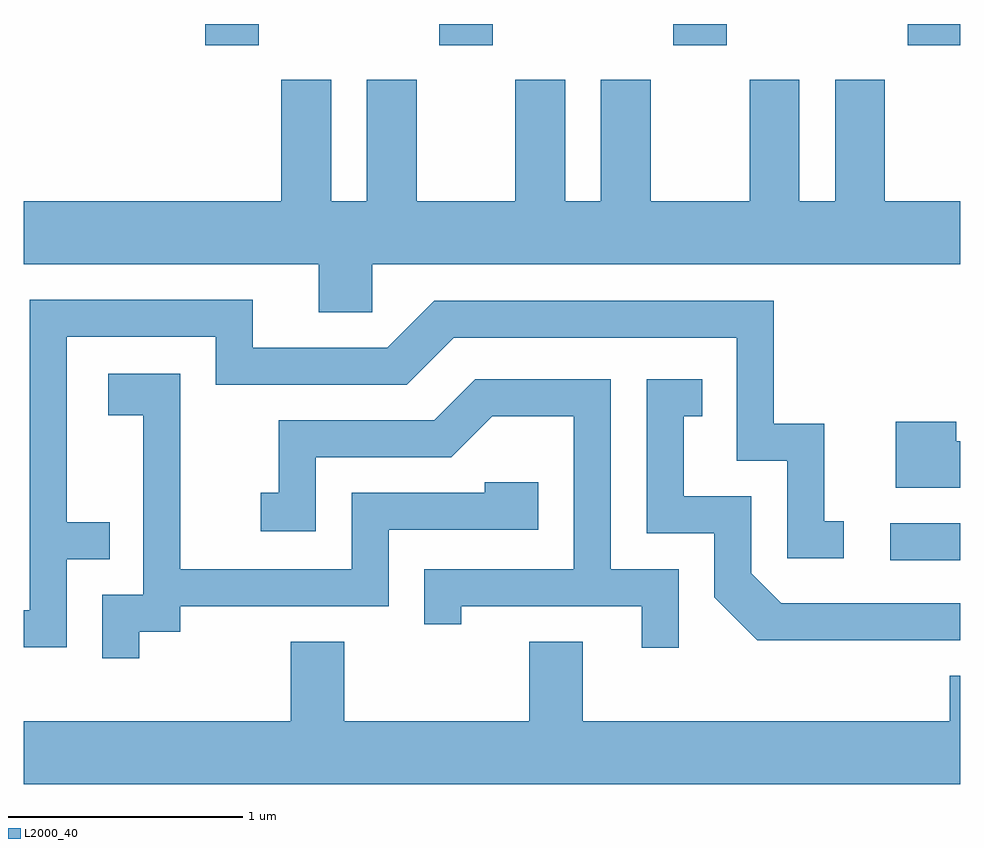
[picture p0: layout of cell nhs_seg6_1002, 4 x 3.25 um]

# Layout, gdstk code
import gdstk
lib = gdstk.Library(unit=1e-6, precision=1e-09)
def R(c, l, rs):  # rectangles x0, y0, x1, y1
    for r in rs: c.add(gdstk.rectangle(r[:2], r[2:], *l))
def A(c, l, x, y, w, h, nx, ny, dx, dy):  # array of equal rectangles
    R(c, l, [(x+i*dx, y+j*dy, x+i*dx+w, y+j*dy+h) for i in range(nx) for j in range(ny)])
def P(c, l, *ps):  # polygons
    for p in ps: c.add(gdstk.Polygon(p, *l))
L2000_40 = (2000, 40)

nhs_seg6_1002 = lib.new_cell('nhs_seg6_1002')
A(nhs_seg6_1002, L2000_40, 216.386, 1562.071, 0.228, 0.091, 3, 1, 1, 0)
R(nhs_seg6_1002, L2000_40, [(219.313,1559.871,219.611,1560.029), (219.386,1562.071,219.611,1562.162)])
P(nhs_seg6_1002, L2000_40, [(216.711,1561.404),(215.611,1561.404),(215.611,1561.136),(216.871,1561.136),(216.871,1560.931),(217.099,1560.931),(217.099,1561.136),(219.611,1561.136),(219.611,1561.404),(219.289,1561.404),(219.289,1561.924),(219.076,1561.924),(219.076,1561.404),(218.924,1561.404),(218.924,1561.924),(218.711,1561.924),(218.711,1561.404),(218.289,1561.404),(218.289,1561.924),(218.076,1561.924),(218.076,1561.404),(217.924,1561.404),(217.924,1561.924),(217.711,1561.924),(217.711,1561.404),(217.289,1561.404),(217.289,1561.924),(217.076,1561.924),(217.076,1561.404),(216.924,1561.404),(216.924,1561.924),(216.711,1561.924)],
  [(215.794,1559.876),(215.978,1559.876),(215.978,1560.034),(215.794,1560.034),(215.794,1560.826),(216.431,1560.826),(216.431,1560.621),(217.247,1560.621),(217.447,1560.821),(218.656,1560.821),(218.656,1560.296),(218.871,1560.296),(218.871,1559.881),(219.113,1559.881),(219.113,1560.039),(219.029,1560.039),(219.029,1560.454),(218.814,1560.454),(218.814,1560.979),(217.364,1560.979),(217.164,1560.779),(216.589,1560.779),(216.589,1560.984),(215.636,1560.984),(215.636,1559.659),(215.611,1559.659),(215.611,1559.501),(215.794,1559.501)],
  [(216.104,1559.566),(216.279,1559.566),(216.279,1559.676),(217.169,1559.676),(217.169,1560.001),(217.809,1560.001),(217.809,1560.204),(217.581,1560.204),(217.581,1560.159),(217.011,1560.159),(217.011,1559.834),(216.279,1559.834),(216.279,1560.669),(215.971,1560.669),(215.971,1560.491),(216.121,1560.491),(216.121,1559.724),(215.946,1559.724),(215.946,1559.453),(216.104,1559.453)],
  [(218.409,1559.834),(218.119,1559.834),(218.119,1560.644),(217.539,1560.644),(217.364,1560.469),(216.701,1560.469),(216.701,1560.159),(216.623,1560.159),(216.623,1559.996),(216.859,1559.996),(216.859,1560.311),(217.437,1560.311),(217.612,1560.486),(217.961,1560.486),(217.961,1559.834),(217.321,1559.834),(217.321,1559.598),(217.479,1559.598),(217.479,1559.676),(218.251,1559.676),(218.251,1559.498),(218.409,1559.498)],
  [(219.611,1559.689),(218.847,1559.689),(218.719,1559.817),(218.719,1560.144),(218.429,1560.144),(218.429,1560.486),(218.508,1560.486),(218.508,1560.644),(218.271,1560.644),(218.271,1559.986),(218.561,1559.986),(218.561,1559.714),(218.744,1559.531),(219.611,1559.531)],
  [(219.611,1560.379),(219.594,1560.379),(219.594,1560.464),(219.336,1560.464),(219.336,1560.181),(219.611,1560.181)],
  [(219.611,1559.379),(219.566,1559.379),(219.566,1559.184),(217.999,1559.184),(217.999,1559.524),(217.771,1559.524),(217.771,1559.184),(216.979,1559.184),(216.979,1559.524),(216.751,1559.524),(216.751,1559.184),(215.611,1559.184),(215.611,1558.916),(219.611,1558.916)])

lib.write_gds('nhs_seg6_1002.gds')
